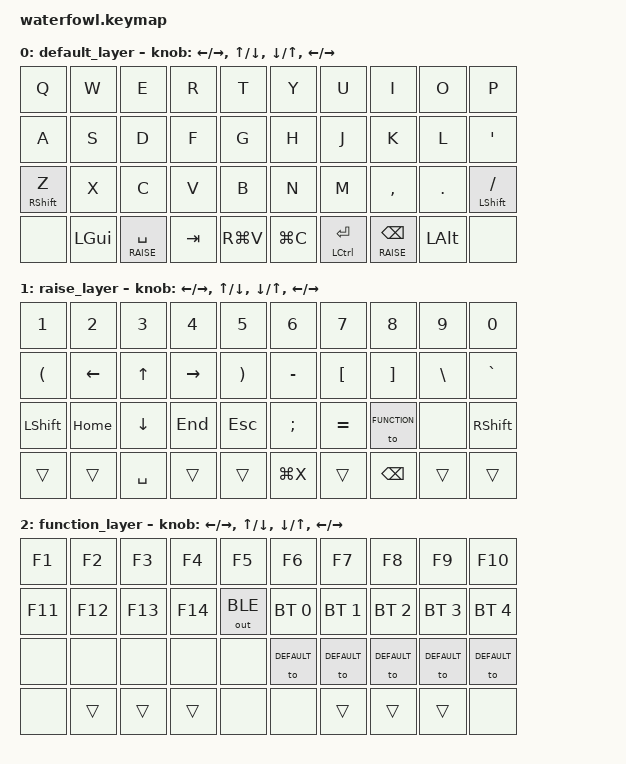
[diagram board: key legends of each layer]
/*
 * Copyright (c) 2022 The ZMK Contributors
 *
 * SPDX-License-Identifier: MIT
 */

#include <behaviors.dtsi>
#include <dt-bindings/zmk/outputs.h>
#include <dt-bindings/zmk/keys.h>
#include <dt-bindings/zmk/bt.h>

#define DEFAULT 0
#define RAISE 1
#define FUNCTION 2

&mt {
  tapping-term-ms = <200>;
};

&lt {
  tapping-term-ms = <200>;
};

/* Combos */
/* Don't really need any, I think
/ {
  combos {
    compatible = "zmk, combos";

  }

}
*/

/ {
	keymap {
		compatible = "zmk,keymap";

		default_layer {
/* QWERTY
 *
 * ,-------------------------------------.                      ,-------------------------------------.
 * |    Q    |   W  |   E  |   R  |   T  |                      |   Y  |   U  |   I  |   O  |   P     |
 * |---------+------+------+------+------|                      |------+------+------+------+---------|
 * |    A    |   S  |   D  |   F  |   G  |                      |   H  |   J  |   K  |   L  |   '     |
 * |---------+------+------+------+------|  ,-----.     ,----.  |------+------+------+------+---------|
 * | Shift,Z |   X  |   C  |   V  |   B  |  |paste|     |copy|  |   N  |   M  |   ,  |   .  | Shift,/ |
 * `-------------------------------------'  `-----'     `----'  `-------------------------------------'
 *         ,------.   ,------------------------.          ,----------------------------.   ,------. 
 *         | none |   | CMD |  L2/SPACE  | TAB |          | CTRL/ENTER | L1/BSPC | ALT |   | none |	
 *         `------'   `------------------------'          `----------------------------'   `------'
 */
			bindings = <
	&kp Q		      &kp W		&kp E		&kp R		&kp T			                 &kp Y	&kp U		&kp I		  &kp O		  &kp P
	&kp A	        &kp S	  &kp D	  &kp F	  &kp G			                 &kp H	&kp J	  &kp K	    &kp L	    &kp APOS
	&mt RSHFT Z		&kp X		&kp C		&kp V		&kp B			                 &kp N	&kp M		&kp COMMA	&kp DOT		&mt LSHFT FSLH
	&none	    &kp LGUI &lt RAISE SPACE	&kp TAB &kp RG(V) &kp LG(C)	 &mt LCTRL RET	 &lt RAISE BSPC &kp LALT	&none
			>;

			sensor-bindings = <&inc_dec_kp LEFT RIGHT
                         &inc_dec_kp UP DOWN
                         &inc_dec_kp DOWN UP
                         &inc_dec_kp LEFT RIGHT>;
		};

		raise_layer {
/* NAVNUM
 *
 * ,----------------------------------.                      ,-----------------------------------.
 * |  1  |   2  |   3  |   4   |   5  |                      |   6  |   7  |   8  |   9  |   0   |
 * |-----+------+------+-------+------|                      |------+------+------+------+------ |
 * |  (  | Left |  Up  | Right |   )  |                      |   -  |   [  |   ]  |   \  |   `   |
 * |-----+------+------+-------+------|  ,-----.    ,-----.  |------+------+------+------+------ |
 * |Shift| Home | Down |  End  | Esc  |  |  ^  |    | cut |  |   ;  |   =  |Toggle|      | Shift |
 * `----------------------------------'  `-----'    `-----'  `-----------------------------------'
 *          ,-----.   ,-------------------.            ,--------------------.   ,-----. 
 *          |  ^  |   |  ^  | SPACE |  ^  |            |  ^  |   BS   |  ^  |   |  ^  |
 *          `-----'   `-------------------'            `--------------------'   `-----'
 */
			bindings = <
	&kp N1		  &kp N2	  &kp N3		&kp N4	  &kp N5					    &kp N6	   &kp N7	    &kp N8		  &kp N9		&kp N0
	&kp LPAR	  &kp LEFT	&kp UP	  &kp RIGHT &kp RPAR				    &kp MINUS	 &kp LBKT	  &kp RBKT		&kp BSLH	&kp GRAVE
	&kp LSHFT   &kp HOME	&kp DOWN	&kp END  	&kp ESC				      &kp SEMI	 &kp EQUAL	&to FUNCTION  &none 	&kp RSHFT
	&trans	    &trans	  &kp SPACE	&trans    &trans					    &kp LG(X)	 &trans	    &kp BSPC	  &trans  	&trans
			>;

			sensor-bindings = <&inc_dec_kp LEFT RIGHT
                         &inc_dec_kp UP DOWN
                         &inc_dec_kp DOWN UP
                         &inc_dec_kp LEFT RIGHT>;
		};

		function_layer {
/* FUNC, TOGGLED ONLY
 *
 * ,----------------------------------.                      ,----------------------------------.
 * |  F1  |  F2  |  F3  |  F4  |  F5  |                      |  F6  |  F7  |  F8  |  F9  |  F10 |
 * |------+------+------+------+------|                      |------+------+------+------+------|
 * |  F11 |  F12 |  F13 |  F14 |outble|                      |  BT0 |  BT1 |  BT2 |  BT3 |  BT4 | 
 * |------+------+------+------+------|  ,-----.    ,-----.  |------+------+------+------+------|
 * |      |      |      |      |      |  |     |    |     |  |Toggle|Toggle|Toggle|Toggle|Toggle|
 * `----------------------------------'  `-----'    `-----'  `----------------------------------'
 *          ,-----.   ,--------------------.            ,--------------------.   ,-----. 
 *          |     |   |  ^  |   ^   |   ^  |            |   ^   |  ^ |   ^   |   |     |
 *          `-----'   `--------------------'            `--------------------'   `-----'
 */
			bindings = <
	&kp F1  &kp F2   &kp F3     &kp F4 	 	 &kp F5				&kp F6	&kp F7	&kp F8		&kp F9		&kp F10
	&kp F11 &kp F12  &kp F13    &kp F14    &out OUT_BLE        &bt BT_SEL 0	&bt BT_SEL 1	&bt BT_SEL 2	&bt BT_SEL 3	&bt BT_SEL 4
	&none	  &none	   &none	    &none    	 &none	      &to DEFAULT	 &to DEFAULT &to DEFAULT	&to DEFAULT	&to DEFAULT
	&none		&trans 	 &trans	    &trans	   &none				&none	&trans	&trans	&trans	&none
			>;

			sensor-bindings = <&inc_dec_kp LEFT RIGHT
                         &inc_dec_kp UP DOWN
                         &inc_dec_kp DOWN UP
                         &inc_dec_kp LEFT RIGHT>;
		};	

	};
};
